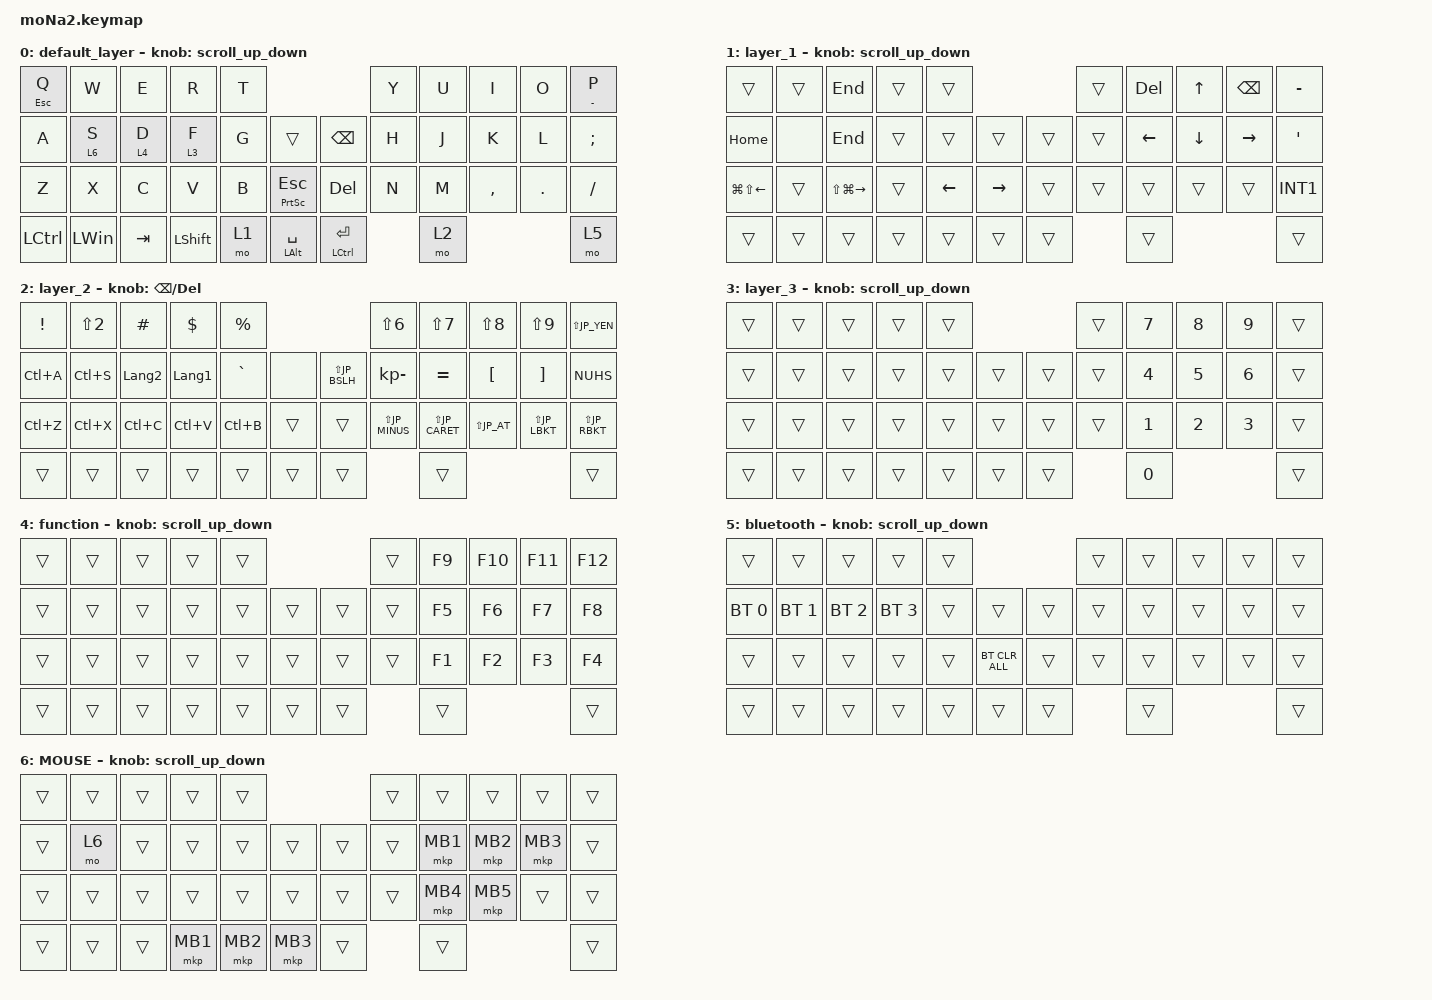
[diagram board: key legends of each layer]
#include <behaviors.dtsi>
#include <dt-bindings/zmk/bt.h>
#include <dt-bindings/zmk/keys.h>
#include <dt-bindings/zmk/pointing.h>

#define ZMK_POINTING_DEFAULT_SCRL_VAL 100
#define MOUSE 6
#define JP_ZKHK  GRAVE        // Zenkaku ↔ Hankaku ↔ Kanji (半角 ↔ 全角 ↔ 漢字)
#define JP_MINUS MINUS        // -
#define JP_CARET EQUAL        // ^
#define JP_YEN   INT3         // ¥
#define JP_AT    LBKT         // @
#define JP_LBKT  RBKT         // [
#define JP_EISU  CAPS         // Eisū (英数)
#define JP_SEMI  SEMI         // ;
#define JP_COLON SQT          // :
#define JP_RBKT  NUHS         // ]
#define JP_COMMA COMMA        // ,
#define JP_DOT   DOT          // .
#define JP_SLASH SLASH        // /
#define JP_BSLH  INT1         // (backslash)
#define JP_MHEN  INT5         // Muhenkan (無変換)
#define JP_HENK  INT4         // Henkan (変換)
#define JP_KANA  INT2         // Katakana ↔ Hiragana ↔ Rōmaji (カタカナ ↔ ひらがな ↔ ローマ字)
#define JP_EXCL  LS(N1)       // !
#define JP_DQT   LS(N2)       // "
#define JP_HASH  LS(N3)       // #
#define JP_DLLR  LS(N4)       // $
#define JP_PRCNT LS(N5)       // %
#define JP_AMPS  LS(N6)       // &
#define JP_SQT   LS(N7)       // '
#define JP_LPAR  LS(N8)       // (
#define JP_RPAR  LS(N9)       // )
#define JP_EQUAL LS(JP_MINUS) // =
#define JP_TILDE LS(JP_CARET) // ~
#define JP_PIPE  LS(JP_YEN)   // |
#define JP_GRAVE LS(JP_AT)    // `
#define JP_LBRC  LS(JP_LBKT)  // {
#define JP_CAPS  LS(JP_EISU)  // Caps Lock
#define JP_PLUS  LS(JP_SEMI)  // +
#define JP_ASTRK LS(JP_COLON) // *
#define JP_RBRC  LS(JP_RBKT)  // }
#define JP_LT    LS(JP_COMMA) // <
#define JP_RT    LS(JP_DOT)   // >
#define JP_QMARK LS(JP_SLASH) // ?
#define JP_UNDER LS(JP_BSLH)  // _

&mt {
    flavor = "balanced";
    quick-tap-ms = <0>;
};

/ {
    combos {
        compatible = "zmk,combos";

        tab {
            bindings = <&kp TAB>;
            key-positions = <11 12>;
        };

        shift+tab {
            bindings = <&kp LS(TAB)>;
            key-positions = <12 13>;
        };

        leftclick {
            bindings = <&mkp MB1>;
            key-positions = <18 19>;
        };

        rightclick {
            bindings = <&mkp MB2>;
            key-positions = <19 20>;
        };

        middleclick {
            bindings = <&mkp MB3>;
            key-positions = <18 19 20>;
        };

        alt+space {
            bindings = <&kp LA(SPACE)>;
            key-positions = <13 18>;
        };

        arrow-layer {
            bindings = <&tog 1>;
            key-positions = <1 3>;
        };
    };

    macros {
        to_layer_0: to_layer_0 {
            compatible = "zmk,behavior-macro-one-param";
            #binding-cells = <1>;
            bindings = <&to 0 &macro_param_1to1 &kp MACRO_PLACEHOLDER>;
            label = "TO_LAYER_0";
        };
    };

    behaviors {
        lt_to_layer_0: lt_to_layer_0 {
            compatible = "zmk,behavior-hold-tap";
            label = "LAYER_TAP_TO_0";
            bindings = <&mo>, <&to_layer_0>;

            #binding-cells = <2>;
            tapping-term-ms = <200>;
        };

        scroll_up_down: behavior_sensor_rotate_mouse_wheel_up_down {
            compatible = "zmk,behavior-sensor-rotate";
            #sensor-binding-cells = <0>;
            bindings = <&msc SCRL_UP>, <&msc SCRL_DOWN>;

            tap-ms = <20>;
        };
    };

    keymap {
        compatible = "zmk,keymap";

        default_layer {
            bindings = <
&mt ESCAPE Q      &kp W         &kp E    &kp R           &kp T                                           &kp Y  &kp U  &kp I      &kp O    &mt MINUS P
&kp A             &lt 6 S       &lt 4 D  &lt 3 F         &kp G  &trans                    &kp BACKSPACE  &kp H  &kp J  &kp K      &kp L    &kp SEMICOLON
&kp Z             &kp X         &kp C    &kp V           &kp B  &mt PRINTSCREEN ESCAPE    &kp DELETE     &kp N  &kp M  &kp COMMA  &kp DOT  &kp SLASH
&kp LCTRL         &kp LEFT_WIN  &kp TAB  &kp LEFT_SHIFT  &mo 1  &mt LEFT_ALT SPACE        &mt LCTRL ENTER      &mo 2                             &mo 5
            >;

            sensor-bindings = <&scroll_up_down>;
        };

        layer_1 {
            bindings = <
&trans                  &trans  &kp END                  &trans  &trans                                     &trans  &kp DELETE      &kp UP_ARROW    &kp BACKSPACE  &kp MINUS
&kp HOME                &none   &kp END                  &trans  &trans          &trans             &trans  &trans  &kp LEFT_ARROW  &kp DOWN_ARROW  &kp RIGHT      &kp JP_COLON
&kp LG(LS(LEFT_ARROW))  &trans  &kp LS(LG(RIGHT_ARROW))  &trans  &kp LEFT_ARROW  &kp RIGHT_ARROW    &trans  &trans  &trans          &trans          &trans         &kp JP_BSLH
&trans                  &trans  &trans                   &trans  &trans          &trans             &trans  &trans                                                 &trans
            >;

            sensor-bindings = <&scroll_up_down>;
        };

        layer_2 {
            bindings = <
&kp EXCLAMATION  &kp JP_DQT  &kp HASH        &kp DOLLAR      &kp PERCENT                          &kp JP_AMPS   &kp JP_SQT    &kp JP_LPAR   &kp JP_RPAR  &kp JP_PIPE
&kp LC(A)        &kp LC(S)   &kp LANGUAGE_2  &kp LANGUAGE_1  &kp JP_ZKHK  &none     &kp JP_UNDER  &kp KP_MINUS  &kp JP_CARET  &kp JP_AT     &kp JP_LBKT  &kp JP_RBKT
&kp LC(Z)        &kp LC(X)   &kp LC(C)       &kp LC(V)       &kp LC(B)    &trans    &trans        &kp JP_EQUAL  &kp JP_TILDE  &kp JP_GRAVE  &kp JP_LBRC  &kp JP_RBRC
&trans           &trans      &trans          &trans          &trans       &trans    &trans        &trans                                                 &trans
            >;

            sensor-bindings = <&inc_dec_kp BACKSPACE DELETE>;
        };

        layer_3 {
            bindings = <
&trans  &trans  &trans  &trans  &trans                    &trans  &kp N7        &kp N8        &kp N9        &trans
&trans  &trans  &trans  &trans  &trans  &trans    &trans  &trans  &kp NUMBER_4  &kp N5        &kp NUMBER_6  &trans
&trans  &trans  &trans  &trans  &trans  &trans    &trans  &trans  &kp NUMBER_1  &kp NUMBER_2  &kp NUMBER_3  &trans
&trans  &trans  &trans  &trans  &trans  &trans    &trans  &kp N0                                            &trans
            >;

            sensor-bindings = <&scroll_up_down>;
        };

        function {
            bindings = <
&trans  &trans  &trans  &trans  &trans                    &trans  &kp F9  &kp F10  &kp F11  &kp F12
&trans  &trans  &trans  &trans  &trans  &trans    &trans  &trans  &kp F5  &kp F6   &kp F7   &kp F8
&trans  &trans  &trans  &trans  &trans  &trans    &trans  &trans  &kp F1  &kp F2   &kp F3   &kp F4
&trans  &trans  &trans  &trans  &trans  &trans    &trans  &trans                            &trans
            >;

            sensor-bindings = <&scroll_up_down>;
        };

        bluetooth {
            bindings = <
&trans        &trans        &trans        &trans        &trans                            &trans  &trans  &trans  &trans  &trans
&bt BT_SEL 0  &bt BT_SEL 1  &bt BT_SEL 2  &bt BT_SEL 3  &trans  &trans            &trans  &trans  &trans  &trans  &trans  &trans
&trans        &trans        &trans        &trans        &trans  &bt BT_CLR_ALL    &trans  &trans  &trans  &trans  &trans  &trans
&trans        &trans        &trans        &trans        &trans  &trans            &trans  &trans                          &trans
            >;

            sensor-bindings = <&scroll_up_down>;
        };

        MOUSE {
            bindings = <
&trans  &trans  &trans  &trans    &trans                        &trans  &trans    &trans    &trans    &trans
&trans  &mo 6   &trans  &trans    &trans    &trans      &trans  &trans  &mkp MB1  &mkp MB2  &mkp MB3  &trans
&trans  &trans  &trans  &trans    &trans    &trans      &trans  &trans  &mkp MB4  &mkp MB5  &trans    &trans
&trans  &trans  &trans  &mkp MB1  &mkp MB2  &mkp MB3    &trans  &trans                                &trans
            >;

            sensor-bindings = <&scroll_up_down>;
        };
    };
};
